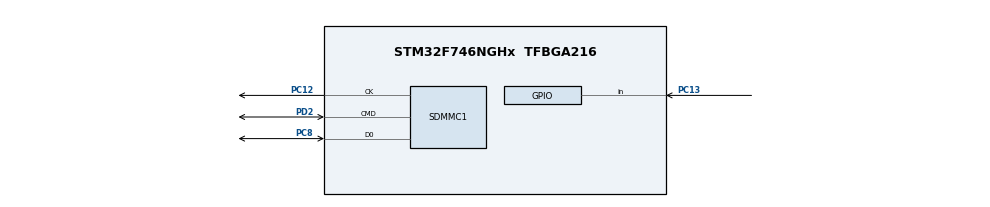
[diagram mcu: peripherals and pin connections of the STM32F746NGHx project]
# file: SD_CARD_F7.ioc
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CORTEX_M7.default_mode_Activation=1
Dma.Request0=SDMMC1_RX
Dma.Request1=SDMMC1_TX
Dma.SDMMC1_RX.0.Direction=DMA_PERIPH_TO_MEMORY
Dma.SDMMC1_RX.0.FIFOMode=DMA_FIFOMODE_ENABLE
Dma.SDMMC1_RX.0.FIFOThreshold=DMA_FIFO_THRESHOLD_FULL
Dma.SDMMC1_RX.0.Instance=DMA2_Stream3
Dma.SDMMC1_RX.0.MemBurst=DMA_MBURST_INC4
Dma.SDMMC1_RX.0.MemDataAlignment=DMA_MDATAALIGN_WORD
Dma.SDMMC1_RX.0.MemInc=DMA_MINC_ENABLE
Dma.SDMMC1_RX.0.Mode=DMA_PFCTRL
Dma.SDMMC1_RX.0.PeriphBurst=DMA_PBURST_INC4
Dma.SDMMC1_RX.0.PeriphDataAlignment=DMA_PDATAALIGN_WORD
Dma.SDMMC1_RX.0.PeriphInc=DMA_PINC_DISABLE
Dma.SDMMC1_RX.0.Priority=DMA_PRIORITY_LOW
Dma.SDMMC1_TX.1.Direction=DMA_MEMORY_TO_PERIPH
Dma.SDMMC1_TX.1.FIFOMode=DMA_FIFOMODE_ENABLE
Dma.SDMMC1_TX.1.FIFOThreshold=DMA_FIFO_THRESHOLD_FULL
Dma.SDMMC1_TX.1.Instance=DMA2_Stream6
Dma.SDMMC1_TX.1.MemBurst=DMA_MBURST_INC4
Dma.SDMMC1_TX.1.MemDataAlignment=DMA_MDATAALIGN_WORD
Dma.SDMMC1_TX.1.MemInc=DMA_MINC_ENABLE
Dma.SDMMC1_TX.1.Mode=DMA_PFCTRL
Dma.SDMMC1_TX.1.PeriphBurst=DMA_PBURST_INC4
Dma.SDMMC1_TX.1.PeriphDataAlignment=DMA_PDATAALIGN_WORD
Dma.SDMMC1_TX.1.PeriphInc=DMA_PINC_DISABLE
Dma.SDMMC1_TX.1.Priority=DMA_PRIORITY_LOW
FATFS.USE_DMA_CODE_SD=1
FATFS._FS_EXFAT=1
FATFS._USE_LFN=1
Mcu.Family=STM32F7
Mcu.Name=STM32F746NGHx
Mcu.Package=TFBGA216
NVIC.DMA2_Stream3_IRQn=true\:0\:0\:false\:false\:true\:false\:true\:true
NVIC.DMA2_Stream6_IRQn=true\:0\:0\:false\:false\:true\:false\:true\:true
NVIC.PriorityGroup=NVIC_PRIORITYGROUP_4
NVIC.SDMMC1_IRQn=true\:0\:0\:false\:false\:true\:true\:true\:true
PA13.Mode=Serial_Wire
PA13.Signal=SYS_JTMS-SWDIO
PA14.Mode=Serial_Wire
PA14.Signal=SYS_JTCK-SWCLK
PC12.Mode=SD_1_bit
PC12.Signal=SDMMC1_CK
PC13.Signal=GPIO_Input
PC8.Mode=SD_1_bit
PC8.Signal=SDMMC1_D0
PD2.Mode=SD_1_bit
PD2.Signal=SDMMC1_CMD
PH0/OSC_IN.Mode=HSE-External-Clock-Source
PH0/OSC_IN.Signal=RCC_OSC_IN
PH1/OSC_OUT.Mode=HSE-External-Clock-Source
PH1/OSC_OUT.Signal=RCC_OSC_OUT
ProjectManager.HeapSize=0x200
ProjectManager.StackSize=0x400
ProjectManager.TargetToolchain=STM32CubeIDE
RCC.AHBFreq_Value=216000000
RCC.APB1CLKDivider=RCC_HCLK_DIV4
RCC.APB1Freq_Value=54000000
RCC.APB1TimFreq_Value=108000000
RCC.APB2CLKDivider=RCC_HCLK_DIV2
RCC.APB2Freq_Value=108000000
RCC.APB2TimFreq_Value=216000000
RCC.CortexFreq_Value=216000000
RCC.HCLKFreq_Value=216000000
RCC.HSE_VALUE=25000000
RCC.HSI_VALUE=16000000
RCC.LSE_VALUE=32768
RCC.PLL48CLockSelection=RCC_CLK48SOURCE_PLLSAIP
RCC.PLLM=25
RCC.PLLN=432
RCC.PLLSAIP=RCC_PLLSAIP_DIV4
RCC.PLLSourceVirtual=RCC_PLLSOURCE_HSE
RCC.SDMMCClockSelection=RCC_SDMMC1CLKSOURCE_CLK48
RCC.SYSCLKFreq_VALUE=216000000
RCC.SYSCLKSource=RCC_SYSCLKSOURCE_PLLCLK
RCC.USBFreq_Value=48000000
RCC.VCOOutputFreq_Value=432000000
SDMMC1.ClockDiv=0x0
VP_FATFS_VS_SDIO.Mode=SDIO
board=custom

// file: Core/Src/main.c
/* USER CODE BEGIN Header */
/**
 ******************************************************************************
 * @file           : main.c
 * @brief          : Main program body
 ******************************************************************************
 * @attention
 *
 * Copyright (c) 2024 STMicroelectronics.
 * All rights reserved.
 *
 * This software is licensed under terms that can be found in the LICENSE file
 * in the root directory of this software component.
 * If no LICENSE file comes with this software, it is provided AS-IS.
 *
 ******************************************************************************
 */
/* USER CODE END Header */
#include "main.h"
#include "fatfs.h"

/* USER CODE BEGIN Includes */
#include <string.h>
/* USER CODE END Includes */

/* USER CODE BEGIN PD */

#define BUFFER_SIZE 128 * 1024

/* USER CODE END PD */

SD_HandleTypeDef hsd1;
DMA_HandleTypeDef hdma_sdmmc1_rx;
DMA_HandleTypeDef hdma_sdmmc1_tx;

/* USER CODE BEGIN PV */

/*
 * Variables for the SD card
 */
FRESULT fr = FR_NOT_READY;
FATFS   SDFatFs_main; /* File system object for SD card logical drive */
FIL     MyFile;       /* File object */

char    buffer[BUFFER_SIZE]; // to store strings..
UINT    br, bw;

uint32_t total_size    = 1UL * 1024 * 1024 * 1024; // 1GB
uint32_t bytes_written = 0;

uint32_t time_count = 0;

/* USER CODE END PV */

void SystemClock_Config(void);
void PeriphCommonClock_Config(void);
static void MPU_Config(void);
static void MX_GPIO_Init(void);
static void MX_DMA_Init(void);
static void MX_SDMMC1_SD_Init(void);

/* USER CODE BEGIN 0 */
int
bufsize (char *buf)
{
  int i = 0;
  while (*buf++ != '\0')
  {
    i++;
  }
  return i;
}
/* USER CODE END 0 */

int main(void)
{

  /* USER CODE BEGIN 1 */
  memset(buffer, 0xFF, BUFFER_SIZE); // Fill buffer with data
  /* USER CODE END 1 */

  /* MPU Configuration--------------------------------------------------------*/
  MPU_Config();

  /* MCU Configuration--------------------------------------------------------*/

  /* Reset of all peripherals, Initializes the Flash interface and the Systick. */
  HAL_Init();

  /* Configure the system clock */
  SystemClock_Config();

  /* Configure the peripherals common clocks */
  PeriphCommonClock_Config();

  /* Initialize all configured peripherals */
  MX_GPIO_Init();
  MX_DMA_Init();
  MX_FATFS_Init();
  MX_SDMMC1_SD_Init();
  /* USER CODE BEGIN 2 */
  if (HAL_SD_Init(&hsd1) != HAL_OK)
  {
    Error_Handler();
  }

  if (HAL_SD_ConfigWideBusOperation(&hsd1, SDMMC_BUS_WIDE_4B) != HAL_OK)
  {
    Error_Handler();
  }

  __disable_irq();
  time_count = 0;
  __enable_irq();
  fr = f_mount(&SDFatFs_main, "", 1);

  fr = f_open(&MyFile, "file3.txt", FA_CREATE_ALWAYS | FA_WRITE);

  /* Writing text */
  while (bytes_written < total_size)
  {
    fr = f_write(&MyFile, buffer, bufsize(buffer), &bw);

    bytes_written += bw;
  }
  f_close(&MyFile);

  __disable_irq();
  uint32_t temp = time_count;
  __enable_irq();

  /* USER CODE END 2 */

  /* Infinite loop */
  while (1)
  {

  }
}

void SystemClock_Config(void)
{
  LL_FLASH_SetLatency(LL_FLASH_LATENCY_7);
  while(LL_FLASH_GetLatency()!= LL_FLASH_LATENCY_7)
  {
  }
  LL_PWR_SetRegulVoltageScaling(LL_PWR_REGU_VOLTAGE_SCALE1);
  LL_PWR_EnableOverDriveMode();
  LL_RCC_HSE_EnableBypass();
  LL_RCC_HSE_Enable();

   /* Wait till HSE is ready */
  while(LL_RCC_HSE_IsReady() != 1)
  {

  }
  LL_RCC_PLL_ConfigDomain_SYS(LL_RCC_PLLSOURCE_HSE, LL_RCC_PLLM_DIV_25, 432, LL_RCC_PLLP_DIV_2);
  LL_RCC_PLL_Enable();

   /* Wait till PLL is ready */
  while(LL_RCC_PLL_IsReady() != 1)
  {

  }
  while (LL_PWR_IsActiveFlag_VOS() == 0)
  {
  }
  LL_RCC_SetAHBPrescaler(LL_RCC_SYSCLK_DIV_1);
  LL_RCC_SetAPB1Prescaler(LL_RCC_APB1_DIV_4);
  LL_RCC_SetAPB2Prescaler(LL_RCC_APB2_DIV_2);
  LL_RCC_SetSysClkSource(LL_RCC_SYS_CLKSOURCE_PLL);

   /* Wait till System clock is ready */
  while(LL_RCC_GetSysClkSource() != LL_RCC_SYS_CLKSOURCE_STATUS_PLL)
  {

  }
  LL_SetSystemCoreClock(216000000);

   /* Update the time base */
  if (HAL_InitTick (TICK_INT_PRIORITY) != HAL_OK)
  {
    Error_Handler();
  }

   /* Set Timers Clock Prescalers */
  LL_RCC_SetTIMPrescaler(LL_RCC_TIM_PRESCALER_TWICE);
}

void PeriphCommonClock_Config(void)
{
  LL_RCC_PLLSAI_ConfigDomain_48M(LL_RCC_PLLSOURCE_HSE, LL_RCC_PLLM_DIV_25, 192, LL_RCC_PLLSAIP_DIV_4);
  LL_RCC_PLLSAI_Enable();

   /* Wait till PLL is ready */
  while(LL_RCC_PLLSAI_IsReady() != 1)
  {

  }
}

static void MX_SDMMC1_SD_Init(void)
{

  hsd1.Instance = SDMMC1;
  hsd1.Init.ClockEdge = SDMMC_CLOCK_EDGE_RISING;
  hsd1.Init.ClockBypass = SDMMC_CLOCK_BYPASS_DISABLE;
  hsd1.Init.ClockPowerSave = SDMMC_CLOCK_POWER_SAVE_DISABLE;
  hsd1.Init.BusWide = SDMMC_BUS_WIDE_1B;
  hsd1.Init.HardwareFlowControl = SDMMC_HARDWARE_FLOW_CONTROL_DISABLE;
  hsd1.Init.ClockDiv = 0x0;

}

static void MX_DMA_Init(void)
{

  /* DMA controller clock enable */
  __HAL_RCC_DMA2_CLK_ENABLE();

  /* DMA interrupt init */
  /* DMA2_Stream3_IRQn interrupt configuration */
  HAL_NVIC_SetPriority(DMA2_Stream3_IRQn, 0, 0);
  HAL_NVIC_EnableIRQ(DMA2_Stream3_IRQn);
  /* DMA2_Stream6_IRQn interrupt configuration */
  HAL_NVIC_SetPriority(DMA2_Stream6_IRQn, 0, 0);
  HAL_NVIC_EnableIRQ(DMA2_Stream6_IRQn);

}

static void MX_GPIO_Init(void)
{
  LL_GPIO_InitTypeDef GPIO_InitStruct = {0};

  /* GPIO Ports Clock Enable */
  LL_AHB1_GRP1_EnableClock(LL_AHB1_GRP1_PERIPH_GPIOC);
  LL_AHB1_GRP1_EnableClock(LL_AHB1_GRP1_PERIPH_GPIOA);
  LL_AHB1_GRP1_EnableClock(LL_AHB1_GRP1_PERIPH_GPIOD);
  LL_AHB1_GRP1_EnableClock(LL_AHB1_GRP1_PERIPH_GPIOH);

  /**/
  GPIO_InitStruct.Pin = LL_GPIO_PIN_13;
  GPIO_InitStruct.Mode = LL_GPIO_MODE_INPUT;
  GPIO_InitStruct.Pull = LL_GPIO_PULL_NO;
  LL_GPIO_Init(GPIOC, &GPIO_InitStruct);

}

 /* MPU Configuration */

void MPU_Config(void)
{

  /* Disables the MPU */
  LL_MPU_Disable();

  /** Initializes and configures the Region and the memory to be protected
  */
  LL_MPU_ConfigRegion(LL_MPU_REGION_NUMBER0, 0x87, 0x0, LL_MPU_REGION_SIZE_4GB|LL_MPU_TEX_LEVEL0|LL_MPU_REGION_NO_ACCESS|LL_MPU_INSTRUCTION_ACCESS_DISABLE|LL_MPU_ACCESS_SHAREABLE|LL_MPU_ACCESS_NOT_CACHEABLE|LL_MPU_ACCESS_NOT_BUFFERABLE);
  /* Enables the MPU */
  LL_MPU_Enable(LL_MPU_CTRL_PRIVILEGED_DEFAULT);

}

void Error_Handler(void)
{
  __disable_irq();
  while (1)
  {
  }
}

#ifdef  USE_FULL_ASSERT
/**
  * @brief  Reports the name of the source file and the source line number
  *         where the assert_param error has occurred.
  * @param  file: pointer to the source file name
  * @param  line: assert_param error line source number
  * @retval None
  */
void assert_failed(uint8_t *file, uint32_t line)
{
  /* USER CODE BEGIN 6 */
  /* User can add his own implementation to report the file name and line
     number, ex: printf("Wrong parameters value: file %s on line %d\r\n", file,
     line) */
  /* USER CODE END 6 */
}
#endif /* USE_FULL_ASSERT */
